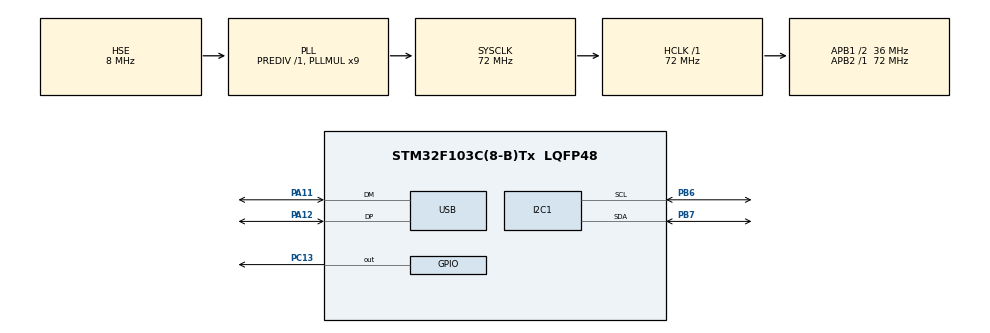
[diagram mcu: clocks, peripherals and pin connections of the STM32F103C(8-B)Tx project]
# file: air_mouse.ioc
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Mcu.Family=STM32F1
Mcu.Name=STM32F103C(8-B)Tx
Mcu.Package=LQFP48
NVIC.PriorityGroup=NVIC_PRIORITYGROUP_4
NVIC.USB_LP_CAN1_RX0_IRQn=true\:0\:0\:false\:false\:true\:false\:true\:true
PA11.Mode=Device
PA11.Signal=USB_DM
PA12.Mode=Device
PA12.Signal=USB_DP
PA13.Mode=Serial_Wire
PA13.Signal=SYS_JTMS-SWDIO
PA14.Mode=Serial_Wire
PA14.Signal=SYS_JTCK-SWCLK
PB6.Mode=I2C
PB6.Signal=I2C1_SCL
PB7.Mode=I2C
PB7.Signal=I2C1_SDA
PC13-TAMPER-RTC.Signal=GPIO_Output
PD0-OSC_IN.Mode=HSE-External-Oscillator
PD0-OSC_IN.Signal=RCC_OSC_IN
PD1-OSC_OUT.Mode=HSE-External-Oscillator
PD1-OSC_OUT.Signal=RCC_OSC_OUT
ProjectManager.HeapSize=0x200
ProjectManager.StackSize=0x400
ProjectManager.TargetToolchain=STM32CubeIDE
RCC.AHBFreq_Value=72000000
RCC.APB1CLKDivider=RCC_HCLK_DIV2
RCC.APB1Freq_Value=36000000
RCC.APB1TimFreq_Value=72000000
RCC.APB2Freq_Value=72000000
RCC.APB2TimFreq_Value=72000000
RCC.HCLKFreq_Value=72000000
RCC.PLLMUL=RCC_PLL_MUL9
RCC.SYSCLKFreq_VALUE=72000000
RCC.SYSCLKSource=RCC_SYSCLKSOURCE_PLLCLK
RCC.USBFreq_Value=48000000
RCC.USBPrescaler=RCC_USBCLKSOURCE_PLL_DIV1_5
USB_DEVICE.CLASS_NAME_FS=HID
USB_DEVICE.VirtualMode=Hid
USB_DEVICE.VirtualModeFS=Hid_FS
VP_USB_DEVICE_VS_USB_DEVICE_HID_FS.Mode=HID_FS
board=custom

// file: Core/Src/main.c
/* USER CODE BEGIN Header */
/**
  ******************************************************************************
  * @file           : main.c
  * @brief          : Main program body
  ******************************************************************************
  * @attention
  *
  * Copyright (c) 2026 STMicroelectronics.
  * All rights reserved.
  *
  * This software is licensed under terms that can be found in the LICENSE file
  * in the root directory of this software component.
  * If no LICENSE file comes with this software, it is provided AS-IS.
  *
  ******************************************************************************
  */
/* USER CODE END Header */
#include "main.h"
#include "usb_device.h"

/* USER CODE BEGIN Includes */
#include "usbd_hid.h"
#include <string.h>
#include <math.h>
/* USER CODE END Includes */

/* USER CODE BEGIN PD */
#define LED_PIN GPIO_PIN_13
#define LED_PORT GPIOC
/* USER CODE END PD */

I2C_HandleTypeDef hi2c1;

/* USER CODE BEGIN PV */
extern USBD_HandleTypeDef hUsbDeviceFS;

#define BNO_ADDR (0x4A << 1)
#define REPORT_GYRO 0x02
#define CH_CONTROL 2
#define CH_INPUT 3
#define bno_max_packet 128

#define SENS_X          5.0f
#define SENS_Y          5.0f
#define DEADBAND        0.05f
#define ALPHA 0.3f

volatile float smooth_x = 0.0f;
volatile float smooth_y = 0.0f;

volatile float gx = 0.0f;
volatile float gy = 0.0f;
volatile uint8_t bno_found = 0;

#define rpt_product_id_rsp   0xF8
#define rpt_product_id_req   0xF9

volatile uint8_t last_channel = 0;
volatile uint16_t last_len = 0;
volatile uint8_t last_report_id = 0;

typedef struct __attribute__((packed)){
	uint8_t buttons;
	int8_t x;
	int8_t y;
	int8_t wheel;
} MouseReport;

static uint8_t tx_buf[128];
static uint8_t rx_buf[128];
static uint8_t seq_num[6] = {0};
/* USER CODE END PV */

void SystemClock_Config(void);
static void MX_GPIO_Init(void);
static void MX_I2C1_Init(void);

/* USER CODE BEGIN 0 */
//static uint16_t shtp_read(uint8_t *channel)
//{
//	uint8_t hdr[4];
//	if (HAL_I2C_Master_Receive(&hi2c1, BNO_ADDR, hdr, 4, 50) != HAL_OK)
//		return 0;
//	uint16_t total = ((uint16_t)(hdr[1] & 0x7F) << 8) | hdr[0];
//	if (total <= 4)
//		return 0;
//	uint16_t payload_len = total - 4;
//	if (payload_len > sizeof(rx_buf))
//		return 0;
//	*channel = hdr[2];
//	if (HAL_I2C_Master_Receive(&hi2c1, BNO_ADDR, rx_buf, payload_len, 100) != HAL_OK)
//		return 0;
//
//	return payload_len;
//}

static uint16_t bno_receive(void)
{
	memset(rx_buf, 0, bno_max_packet);
	    // Read header first to get length
	    if (HAL_I2C_Master_Receive(&hi2c1, BNO_ADDR, rx_buf, 4, 200) != HAL_OK)
	        return 0;

	    uint16_t pkt_len = (uint16_t)rx_buf[0] | ((uint16_t)(rx_buf[1] & 0x7F) << 8);
	    if (pkt_len <= 4 || pkt_len == 0x7FFF) return 0;
	    if (pkt_len > bno_max_packet) pkt_len = bno_max_packet;

	    memset(rx_buf, 0, bno_max_packet);
	    // Read full packet (header + payload)
	    if (HAL_I2C_Master_Receive(&hi2c1, BNO_ADDR, rx_buf, pkt_len, 200) != HAL_OK)
	        return 0;

	    return pkt_len;
}

static HAL_StatusTypeDef shtp_write(uint8_t channel, uint8_t *data, uint16_t len)
{
    uint16_t total = len + 4;
    if (total > sizeof(tx_buf)) return HAL_ERROR;
    tx_buf[0] = total & 0xFF;
    tx_buf[1] = (total >> 8) & 0x7F;
    tx_buf[2] = channel;
    tx_buf[3] = seq_num[channel]++;
    memcpy(&tx_buf[4], data, len);
    return HAL_I2C_Master_Transmit(&hi2c1, BNO_ADDR, tx_buf, total, 200);
}

static void bno_enable_report(uint8_t report_id, uint32_t interval_us)
{
    uint8_t cmd[17] = {0};
    cmd[0] = 0xFD;
    cmd[1] = report_id;
    cmd[5] =  interval_us        & 0xFF;
    cmd[6] = (interval_us >> 8)  & 0xFF;
    cmd[7] = (interval_us >> 16) & 0xFF;
    cmd[8] = (interval_us >> 24) & 0xFF;
    shtp_write(CH_CONTROL, cmd, 17);
}

//static void bno_init(void)
//{
//	HAL_Delay(300);
//	uint8_t ch;
//	for (uint8_t i = 0; i < 10; i++){
//		shtp_read(&ch);
//		HAL_Delay(20);
//	}
//	bno_enable_report(REPORT_GYRO, 10000);
//	HAL_Delay(50);
//}
static void bno_init(void)
{
    memset(seq_num, 0, sizeof(seq_num));
    HAL_Delay(300);
    // Drain boot packets
    for (int i = 0; i < 10; i++) {
        bno_receive();
        HAL_Delay(50);
    }
    // Enable gyro at 100 Hz
    bno_enable_report(REPORT_GYRO, 10000);
    HAL_Delay(100);
}

static int bno_read_gyro(volatile float *pgx, volatile float *pgy)
{
    uint16_t total = bno_receive();
    if (total < 10) return 0;

    uint8_t channel = rx_buf[2];
    last_channel = channel;
    last_len = total;

    if (channel != CH_INPUT) return 0;

    // Scan through all reports in this packet
    // Payload starts at rx_buf[4], walk through looking for REPORT_GYRO
    uint16_t i = 4;
    while (i < total)
    {
        uint8_t report_id = rx_buf[i];
        last_report_id = report_id;

        if (report_id == 0xFB) {
            // Base timestamp: 5 bytes, skip it
            i += 5;
            continue;
        }
        if (report_id == REPORT_GYRO) {
            // Found gyro report
            // layout: [i]=id [i+1]=seq [i+2]=status [i+3][i+4]=X [i+5][i+6]=Y
            if (i + 6 >= total) return 0;
            int16_t raw_x = (int16_t)(rx_buf[i+3] | (rx_buf[i+4] << 8));
            int16_t raw_y = (int16_t)(rx_buf[i+5] | (rx_buf[i+6] << 8));
            *pgx = (float)raw_x / 512.0f;
            *pgy = (float)raw_y / 512.0f;
            return 1;
        }
        // Unknown report, can't parse further
        break;
    }
    return 0;
}

static int8_t clamp8(float v)
{
	if (v >  127.0f) return  127;
	if (v < -127.0f) return -127;

	return (int8_t)v;
}

static void mousesend(int8_t dx, int8_t dy)
{
	MouseReport r = {0};
	r.x = dx;
	r.y = dy;
	USBD_HID_SendReport(&hUsbDeviceFS, (uint8_t *)&r, sizeof(r));
}
/* USER CODE END 0 */

int main(void)
{

  /* MCU Configuration--------------------------------------------------------*/

  /* Reset of all peripherals, Initializes the Flash interface and the Systick. */
  HAL_Init();

  /* Configure the system clock */
  SystemClock_Config();

  /* Initialize all configured peripherals */
  MX_GPIO_Init();
  MX_I2C1_Init();
  MX_USB_DEVICE_Init();
  /* USER CODE BEGIN 2 */
  HAL_Delay(500);

  bno_init();

  if (HAL_I2C_IsDeviceReady(&hi2c1, BNO_ADDR, 3, 100) == HAL_OK)
      bno_found = 1;  // should be 1 if wiring is correct
  /* USER CODE END 2 */

  /* Infinite loop */
  while (1)
  {

    /* USER CODE BEGIN 3 */
	  if (bno_read_gyro(&gx, &gy))
	    {
	  	  if (fabsf(gx) < DEADBAND) gx = 0.0f;
	  	  if (fabsf(gy) < DEADBAND) gy = 0.0f;

	  	smooth_x = ALPHA * gx + (1.0f - ALPHA) * smooth_x;
	    smooth_y = ALPHA * gy + (1.0f - ALPHA) * smooth_y;

	  	  int8_t dx = clamp8(gx * SENS_X);
	  	  int8_t dy = clamp8(gy * SENS_Y);

	  	  if (dx != 0 || dy != 0)
	  		  mousesend(dx, dy);
	      HAL_GPIO_TogglePin(LED_PORT, LED_PIN); // blinks if gyro reading

	    }
	  HAL_Delay(10);
  }
  /* USER CODE END 3 */
}

void SystemClock_Config(void)
{
  RCC_OscInitTypeDef RCC_OscInitStruct = {0};
  RCC_ClkInitTypeDef RCC_ClkInitStruct = {0};
  RCC_PeriphCLKInitTypeDef PeriphClkInit = {0};

  /** Initializes the RCC Oscillators according to the specified parameters
  * in the RCC_OscInitTypeDef structure.
  */
  RCC_OscInitStruct.OscillatorType = RCC_OSCILLATORTYPE_HSE;
  RCC_OscInitStruct.HSEState = RCC_HSE_ON;
  RCC_OscInitStruct.HSEPredivValue = RCC_HSE_PREDIV_DIV1;
  RCC_OscInitStruct.HSIState = RCC_HSI_ON;
  RCC_OscInitStruct.PLL.PLLState = RCC_PLL_ON;
  RCC_OscInitStruct.PLL.PLLSource = RCC_PLLSOURCE_HSE;
  RCC_OscInitStruct.PLL.PLLMUL = RCC_PLL_MUL9;
  if (HAL_RCC_OscConfig(&RCC_OscInitStruct) != HAL_OK)
  {
    Error_Handler();
  }

  /** Initializes the CPU, AHB and APB buses clocks
  */
  RCC_ClkInitStruct.ClockType = RCC_CLOCKTYPE_HCLK|RCC_CLOCKTYPE_SYSCLK
                              |RCC_CLOCKTYPE_PCLK1|RCC_CLOCKTYPE_PCLK2;
  RCC_ClkInitStruct.SYSCLKSource = RCC_SYSCLKSOURCE_PLLCLK;
  RCC_ClkInitStruct.AHBCLKDivider = RCC_SYSCLK_DIV1;
  RCC_ClkInitStruct.APB1CLKDivider = RCC_HCLK_DIV2;
  RCC_ClkInitStruct.APB2CLKDivider = RCC_HCLK_DIV1;

  if (HAL_RCC_ClockConfig(&RCC_ClkInitStruct, FLASH_LATENCY_2) != HAL_OK)
  {
    Error_Handler();
  }
  PeriphClkInit.PeriphClockSelection = RCC_PERIPHCLK_USB;
  PeriphClkInit.UsbClockSelection = RCC_USBCLKSOURCE_PLL_DIV1_5;
  if (HAL_RCCEx_PeriphCLKConfig(&PeriphClkInit) != HAL_OK)
  {
    Error_Handler();
  }
}

static void MX_I2C1_Init(void)
{

  hi2c1.Instance = I2C1;
  hi2c1.Init.ClockSpeed = 100000;
  hi2c1.Init.DutyCycle = I2C_DUTYCYCLE_2;
  hi2c1.Init.OwnAddress1 = 0;
  hi2c1.Init.AddressingMode = I2C_ADDRESSINGMODE_7BIT;
  hi2c1.Init.DualAddressMode = I2C_DUALADDRESS_DISABLE;
  hi2c1.Init.OwnAddress2 = 0;
  hi2c1.Init.GeneralCallMode = I2C_GENERALCALL_DISABLE;
  hi2c1.Init.NoStretchMode = I2C_NOSTRETCH_DISABLE;
  if (HAL_I2C_Init(&hi2c1) != HAL_OK)
  {
    Error_Handler();
  }

}

static void MX_GPIO_Init(void)
{
  GPIO_InitTypeDef GPIO_InitStruct = {0};

  /* GPIO Ports Clock Enable */
  __HAL_RCC_GPIOC_CLK_ENABLE();
  __HAL_RCC_GPIOD_CLK_ENABLE();
  __HAL_RCC_GPIOA_CLK_ENABLE();
  __HAL_RCC_GPIOB_CLK_ENABLE();

  /*Configure GPIO pin Output Level */
  HAL_GPIO_WritePin(GPIOC, GPIO_PIN_13, GPIO_PIN_RESET);

  /*Configure GPIO pin : PC13 */
  GPIO_InitStruct.Pin = GPIO_PIN_13;
  GPIO_InitStruct.Mode = GPIO_MODE_OUTPUT_PP;
  GPIO_InitStruct.Pull = GPIO_NOPULL;
  GPIO_InitStruct.Speed = GPIO_SPEED_FREQ_LOW;
  HAL_GPIO_Init(GPIOC, &GPIO_InitStruct);

}

void Error_Handler(void)
{
  __disable_irq();
  while (1)
  {
  }
}
